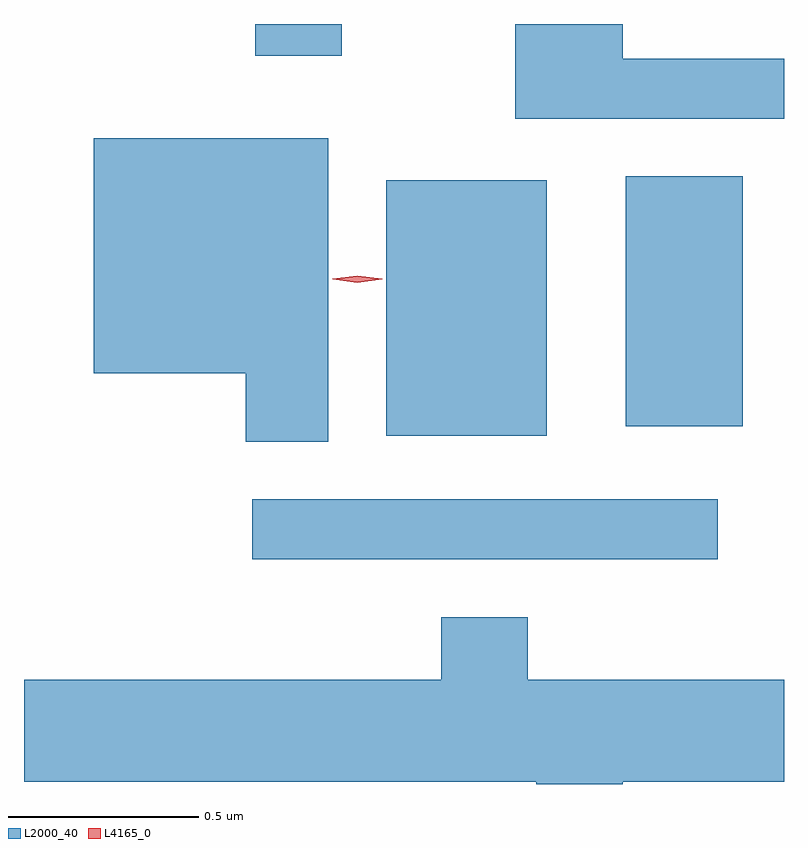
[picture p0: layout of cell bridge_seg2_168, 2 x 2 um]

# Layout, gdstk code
import gdstk
lib = gdstk.Library(unit=1e-6, precision=1e-09)
def R(c, l, rs):  # rectangles x0, y0, x1, y1
    for r in rs: c.add(gdstk.rectangle(r[:2], r[2:], *l))
def P(c, l, *ps):  # polygons
    for p in ps: c.add(gdstk.Polygon(p, *l))
L2000_40 = (2000, 40)
L4165_0 = (4165, 0)

bridge_seg2_168 = lib.new_cell('bridge_seg2_168')
R(bridge_seg2_168, L2000_40, [(818.783,1113.281,820.008,1113.439), (819.136,1113.606,819.559,1114.279), (819.766,1113.631,820.074,1114.289), (818.791,1114.606,819.019,1114.69)])
P(bridge_seg2_168, L2000_40, [(820.183,1114.599),(819.759,1114.599),(819.759,1114.69),(819.476,1114.69),(819.476,1114.441),(820.183,1114.441)],
  [(818.984,1114.389),(818.366,1114.389),(818.366,1113.771),(818.766,1113.771),(818.766,1113.591),(818.984,1113.591)],
  [(819.759,1112.696),(820.183,1112.696),(820.183,1112.964),(819.509,1112.964),(819.509,1113.129),(819.281,1113.129),(819.281,1112.964),(818.183,1112.964),(818.183,1112.696),(819.531,1112.696),(819.531,1112.69),(819.759,1112.69)])
P(bridge_seg2_168, L4165_0, [(819.06,1114.009),(818.995,1114.018),(818.994,1114.019),(818.995,1114.02),(819.06,1114.028),(819.126,1114.019),(819.126,1114.018),(819.126,1114.018)])

lib.write_gds('bridge_seg2_168.gds')
